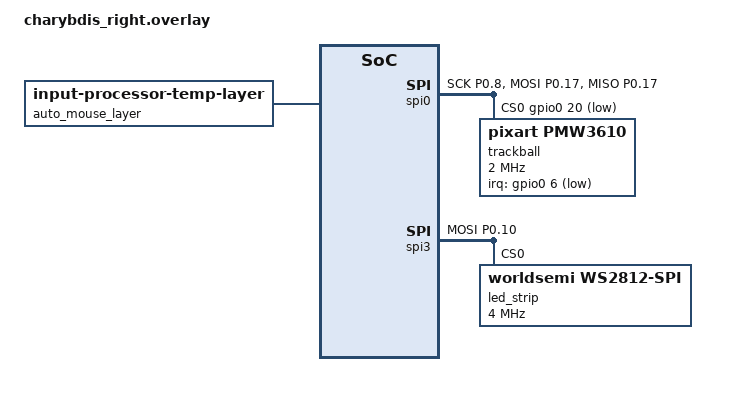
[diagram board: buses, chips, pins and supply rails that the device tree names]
/*
 * Copyright (c) 2020 ZMK Contributors
 *
 * SPDX-License-Identifier: MIT
 */
 
#include "charybdis.dtsi"
#include <input/processors.dtsi>

&default_transform {
    col-offset = <6>;
}; 

&kscan0 {
	col-gpios
		= <&gpio0 2 GPIO_ACTIVE_HIGH>
		, <&gpio0 29 GPIO_ACTIVE_HIGH>
		, <&gpio0 9 GPIO_ACTIVE_HIGH>
		, <&gpio1 0  GPIO_ACTIVE_HIGH>
		, <&gpio0 11 GPIO_ACTIVE_HIGH>
		, <&gpio1 4  GPIO_ACTIVE_HIGH>
		;
};

// trackball
&pinctrl {
    spi0_default: spi0_default {
        group1 {
            psels = <NRF_PSEL(SPIM_SCK, 0, 8)>,
                <NRF_PSEL(SPIM_MOSI, 0, 17)>,
                <NRF_PSEL(SPIM_MISO, 0, 17)>;
        };
    };

    spi0_sleep: spi0_sleep {
        group1 {
            psels = <NRF_PSEL(SPIM_SCK, 0, 8)>,
                <NRF_PSEL(SPIM_MOSI, 0, 17)>,
                <NRF_PSEL(SPIM_MISO, 0, 17)>;
            low-power-enable;
        };
    };
};

&spi0 {
    status = "okay";
    compatible = "nordic,nrf-spim";
    pinctrl-0 = <&spi0_default>;
    pinctrl-1 = <&spi0_sleep>;
    pinctrl-names = "default", "sleep";
    cs-gpios = <&gpio0 20 GPIO_ACTIVE_LOW>;

    trackball: trackball@0 {
        status = "okay";
        compatible = "pixart,pmw3610";
        reg = <0>;
        spi-max-frequency = <2000000>;
        irq-gpios = <&gpio0 6 (GPIO_ACTIVE_LOW | GPIO_PULL_UP)>;
        scroll-layers = <3>;
        snipe-layers = <4>;
        // automouse-layer = <3>;
    };
};


//RGB bus
&pinctrl {
    spi3_default: spi3_default {
        group1 {
            psels = <NRF_PSEL(SPIM_MOSI, 0, 10)>;
        };
    };

    spi3_sleep: spi3_sleep {
        group1 {
            psels = <NRF_PSEL(SPIM_MOSI, 0, 10)>;
            low-power-enable;
        };
    };
};

&spi3 {
    compatible = "nordic,nrf-spim";
    status = "okay";

    pinctrl-0 = <&spi3_default>;
    pinctrl-1 = <&spi3_sleep>;
    pinctrl-names = "default", "sleep";

    led_strip: ws2812@0 {
        compatible = "worldsemi,ws2812-spi";

        /* SPI */
        reg = <0>; /* ignored, but necessary for SPI bindings */
        spi-max-frequency = <4000000>;

        /* WS2812 */
        chain-length = <27>; /* number of LEDs */
        spi-one-frame = <0x70>;
        spi-zero-frame = <0x40>;
        color-mapping = <LED_COLOR_ID_GREEN
                         LED_COLOR_ID_RED
                         LED_COLOR_ID_BLUE>;
    };
};

/ {
    /* 自动鼠标层处理器 */
    auto_mouse_layer: auto_mouse_layer {
        compatible = "zmk,input-processor-temp-layer";
        #input-processor-cells = <2>;
        require-prior-idle-ms = <150>;   /* 打字防误触：按键后 150ms 内动球不激活鼠标层 */
        excluded-positions = <
            11                             /* to U_BASE (右上角手动退出键) */
            15 16 17 18 19 20 21 22       /* RCLK, LCLK, MCLK, 快捷键 (Redo, Paste, Copy, Cut, Undo) */
            25 26 27 28 29 30 31 32 33 34 /* LGUI, LALT, LCTRL, LSHFT, LCLK, MCLK, LCLK, RCLK, mo U_SCROLL, mo U_SNIPE */
            36 39 40 43 44 47             /* LSHFT(左底角), MB5, MB4, MB4, MB5, RSHFT(右底角) */
            48 49 50 51 52 55             /* 拇指区鼠标点击按键 */
        >;
    };

    trackball_listener {
        compatible = "zmk,input-listener";
        device = <&trackball>;
        /* 参数 1：目标层 2 (U_MOUSE)；参数 2：超时退出时间 1000ms */
        input-processors = <&auto_mouse_layer 2 1000>;
    };
};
